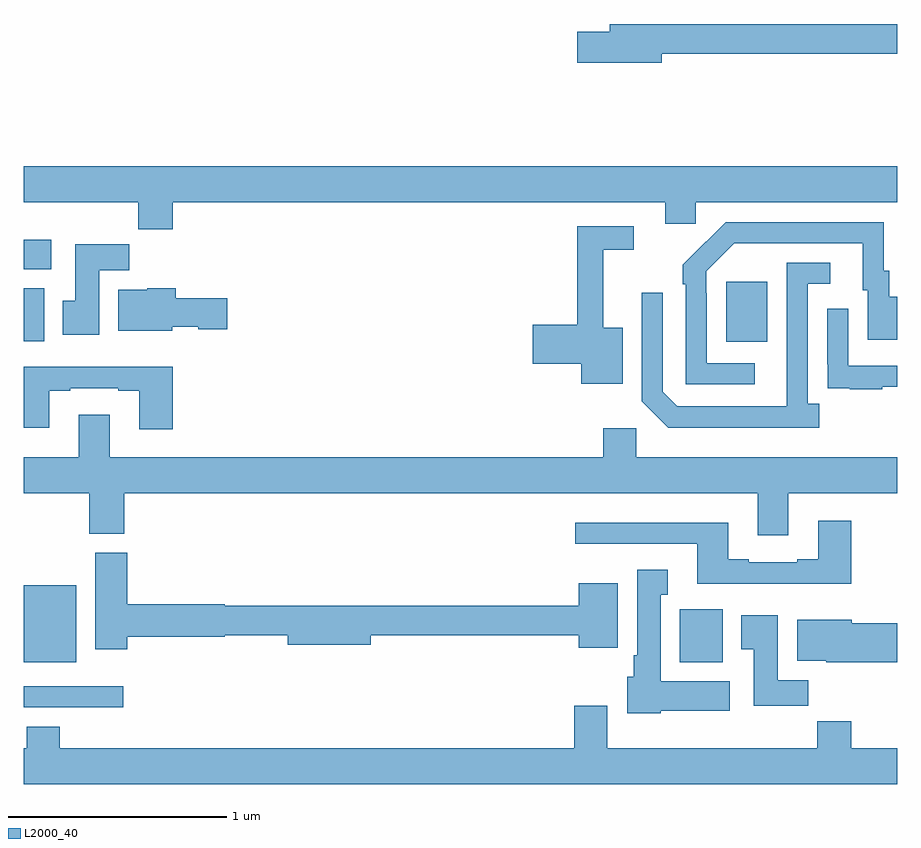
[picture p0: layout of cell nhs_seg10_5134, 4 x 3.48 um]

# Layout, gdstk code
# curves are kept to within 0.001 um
import gdstk
lib = gdstk.Library(unit=1e-6, precision=1e-09)
def R(c, l, rs):  # rectangles x0, y0, x1, y1
    for r in rs: c.add(gdstk.rectangle(r[:2], r[2:], *l))
def P(c, l, *ps):  # polygons
    for p in ps: c.add(gdstk.Polygon(p, *l))
L2000_40 = (2000, 40)

nhs_seg10_5134 = lib.new_cell('nhs_seg10_5134')
R(nhs_seg10_5134, L2000_40, [(409,1299.336,409.456,1299.432), (409,1299.542,409.24,1299.895), (412.004,1299.542,412.201,1299.784), (412.217,1301.009,412.405,1301.284), (409,1301.012,409.093,1301.254), (409,1301.342,409.126,1301.476)])
P(nhs_seg10_5134, L2000_40, [(411.922,1302.328),(413,1302.328),(413,1302.464),(411.683,1302.464),(411.683,1302.428),(411.534,1302.428),(411.534,1302.286),(411.922,1302.286)],
  [(409.682,1301.648),(411.938,1301.648),(411.938,1301.55),(412.077,1301.55),(412.077,1301.648),(413,1301.648),(413,1301.812),(409,1301.812),(409,1301.648),(409.525,1301.648),(409.525,1301.524),(409.682,1301.524)],
  [(412.348,1300.911),(412.128,1300.911),(412.128,1301.231),(412.125,1301.231),(412.125,1301.331),(412.254,1301.46),(412.841,1301.46),(412.841,1301.244),(412.865,1301.244),(412.865,1301.019),(413,1301.019),(413,1301.215),(412.963,1301.215),(412.963,1301.334),(412.938,1301.334),(412.938,1301.556),(412.214,1301.556),(412.017,1301.361),(412.017,1301.273),(412.032,1301.273),(412.032,1300.815),(412.348,1300.815)],
  [(411.742,1301.074),(411.653,1301.074),(411.653,1301.43),(411.793,1301.43),(411.793,1301.538),(411.535,1301.538),(411.535,1301.087),(411.33,1301.087),(411.33,1300.909),(411.554,1300.909),(411.554,1300.817),(411.742,1300.817)],
  [(409.345,1301.336),(409.484,1301.336),(409.484,1301.455),(409.235,1301.455),(409.235,1301.196),(409.178,1301.196),(409.178,1301.04),(409.345,1301.04)],
  [(412.642,1300.726),(412.59,1300.726),(412.59,1301.274),(412.693,1301.274),(412.693,1301.37),(412.494,1301.37),(412.493,1300.713),(411.993,1300.713),(411.927,1300.779),(411.927,1301.233),(411.831,1301.233),(411.831,1300.737),(411.952,1300.616),(412.642,1300.616)],
  [(409.68,1301.078),(409.8,1301.078),(409.8,1301.066),(409.933,1301.066),(409.933,1301.208),(409.697,1301.208),(409.697,1301.254),(409.566,1301.254),(409.566,1301.248),(409.433,1301.248),(409.433,1301.06),(409.68,1301.06)],
  [(412.931,1300.803),(413,1300.803),(413,1300.899),(412.776,1300.899),(412.776,1301.161),(412.68,1301.161),(412.68,1300.906),(412.681,1300.906),(412.681,1300.797),(412.783,1300.797),(412.783,1300.791),(412.931,1300.791)],
  [(409.682,1300.894),(409,1300.894),(409,1300.616),(409.117,1300.616),(409.117,1300.785),(409.213,1300.785),(409.213,1300.797),(409.433,1300.797),(409.433,1300.785),(409.529,1300.785),(409.529,1300.608),(409.682,1300.608)],
  [(412.501,1300.316),(413,1300.316),(413,1300.48),(411.804,1300.48),(411.804,1300.612),(411.653,1300.612),(411.653,1300.48),(409.393,1300.48),(409.393,1300.675),(409.253,1300.675),(409.253,1300.48),(409,1300.48),(409,1300.316),(409.3,1300.316),(409.3,1300.129),(409.46,1300.129),(409.46,1300.316),(412.361,1300.316),(412.361,1300.122),(412.501,1300.122)],
  [(412.79,1300.189),(412.637,1300.189),(412.637,1300.012),(412.541,1300.012),(412.541,1299.999),(412.321,1299.999),(412.321,1300.012),(412.225,1300.012),(412.225,1300.18),(411.525,1300.18),(411.525,1300.083),(412.085,1300.083),(412.085,1299.902),(412.79,1299.902)],
  [(409.475,1299.659),(409.92,1299.659),(409.92,1299.664),(410.21,1299.664),(410.21,1299.622),(410.59,1299.622),(410.59,1299.664),(411.542,1299.664),(411.542,1299.608),(411.721,1299.608),(411.721,1299.904),(411.542,1299.904),(411.542,1299.8),(409.92,1299.8),(409.92,1299.806),(409.475,1299.806),(409.475,1300.044),(409.328,1300.044),(409.328,1299.6),(409.475,1299.6)],
  [(411.918,1299.32),(412.234,1299.32),(412.234,1299.454),(411.916,1299.454),(411.916,1299.851),(411.949,1299.851),(411.949,1299.964),(411.809,1299.964),(411.809,1299.574),(411.794,1299.574),(411.794,1299.474),(411.764,1299.474),(411.764,1299.308),(411.918,1299.308)],
  [(412.592,1299.46),(412.453,1299.46),(412.453,1299.757),(412.286,1299.757),(412.286,1299.601),(412.343,1299.601),(412.343,1299.342),(412.592,1299.342)],
  [(413,1299.719),(412.792,1299.719),(412.792,1299.736),(412.541,1299.736),(412.541,1299.548),(412.674,1299.548),(412.674,1299.542),(413,1299.542)],
  [(413,1299.148),(412.79,1299.148),(412.79,1299.272),(412.633,1299.272),(412.633,1299.148),(411.673,1299.148),(411.673,1299.343),(411.521,1299.343),(411.521,1299.148),(409.166,1299.148),(409.166,1299.247),(409.013,1299.247),(409.013,1299.148),(409,1299.148),(409,1298.984),(413,1298.984)])

lib.write_gds('nhs_seg10_5134.gds')
